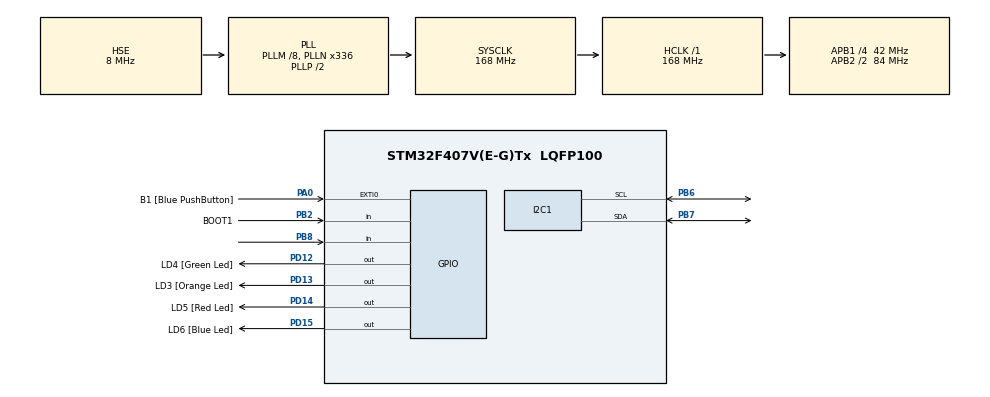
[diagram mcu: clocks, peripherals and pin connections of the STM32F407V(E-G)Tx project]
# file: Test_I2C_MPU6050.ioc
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Mcu.Family=STM32F4
Mcu.Name=STM32F407V(E-G)Tx
Mcu.Package=LQFP100
NVIC.PriorityGroup=NVIC_PRIORITYGROUP_0
PA0-WKUP.GPIO_Label=B1 [Blue PushButton]
PA0-WKUP.GPIO_ModeDefaultEXTI=GPIO_MODE_EVT_RISING
PA0-WKUP.GPIO_PuPd=GPIO_NOPULL
PA0-WKUP.Signal=GPXTI0
PB2.GPIO_Label=BOOT1
PB2.GPIO_Mode=GPIO_MODE_INPUT
PB2.GPIO_PuPd=GPIO_NOPULL
PB2.Signal=GPIO_Input
PB6.Mode=I2C
PB6.Signal=I2C1_SCL
PB7.Mode=I2C
PB7.Signal=I2C1_SDA
PB8.Signal=GPIO_Input
PC14-OSC32_IN.GPIO_Label=PC14-OSC32_IN
PC14-OSC32_IN.Mode=LSE-External-Oscillator
PC14-OSC32_IN.Signal=RCC_OSC32_IN
PC15-OSC32_OUT.GPIO_Label=PC15-OSC32_OUT
PC15-OSC32_OUT.Mode=LSE-External-Oscillator
PC15-OSC32_OUT.Signal=RCC_OSC32_OUT
PD12.GPIO_Label=LD4 [Green Led]
PD12.GPIO_PuPd=GPIO_NOPULL
PD12.GPIO_Speed=GPIO_SPEED_FREQ_LOW
PD12.Signal=GPIO_Output
PD13.GPIO_Label=LD3 [Orange Led]
PD13.GPIO_PuPd=GPIO_NOPULL
PD13.GPIO_Speed=GPIO_SPEED_FREQ_LOW
PD13.Signal=GPIO_Output
PD14.GPIO_Label=LD5 [Red Led]
PD14.GPIO_PuPd=GPIO_NOPULL
PD14.GPIO_Speed=GPIO_SPEED_FREQ_LOW
PD14.Signal=GPIO_Output
PD15.GPIO_Label=LD6 [Blue Led]
PD15.GPIO_PuPd=GPIO_NOPULL
PD15.GPIO_Speed=GPIO_SPEED_FREQ_LOW
PD15.Signal=GPIO_Output
PH0-OSC_IN.GPIO_Label=PH0-OSC_IN
PH0-OSC_IN.Mode=HSE-External-Oscillator
PH0-OSC_IN.Signal=RCC_OSC_IN
PH1-OSC_OUT.GPIO_Label=PH1-OSC_OUT
PH1-OSC_OUT.Mode=HSE-External-Oscillator
PH1-OSC_OUT.Signal=RCC_OSC_OUT
ProjectManager.HeapSize=0x200
ProjectManager.StackSize=0x400
ProjectManager.TargetToolchain=STM32CubeIDE
RCC.48MHZClocksFreq_Value=48000000
RCC.AHBFreq_Value=168000000
RCC.APB1CLKDivider=RCC_HCLK_DIV4
RCC.APB1Freq_Value=42000000
RCC.APB1TimFreq_Value=84000000
RCC.APB2CLKDivider=RCC_HCLK_DIV2
RCC.APB2Freq_Value=84000000
RCC.APB2TimFreq_Value=168000000
RCC.CortexFreq_Value=168000000
RCC.HCLKFreq_Value=168000000
RCC.HSE_VALUE=8000000
RCC.HSI_VALUE=16000000
RCC.PLLM=8
RCC.PLLN=336
RCC.PLLQ=7
RCC.PLLSourceVirtual=RCC_PLLSOURCE_HSE
RCC.SYSCLKFreq_VALUE=168000000
RCC.SYSCLKSource=RCC_SYSCLKSOURCE_PLLCLK
RCC.VCOOutputFreq_Value=336000000
board=STM32F407G-DISC1

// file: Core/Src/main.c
/* USER CODE BEGIN Header */
/**
  ******************************************************************************
  * @file           : main.c
  * @brief          : Main program body
  ******************************************************************************
  * @attention
  *
  * Copyright (c) 2023 STMicroelectronics.
  * All rights reserved.
  *
  * This software is licensed under terms that can be found in the LICENSE file
  * in the root directory of this software component.
  * If no LICENSE file comes with this software, it is provided AS-IS.
  *
  ******************************************************************************
  */
/* USER CODE END Header */
#include "main.h"

/* USER CODE BEGIN Includes */
#include "TJ_MPU6050.h"
/* USER CODE END Includes */

/* USER CODE BEGIN PD */
#define MPU6050_ADDR 0x68 // MPU6050 I2C address
/* USER CODE END PD */

I2C_HandleTypeDef hi2c1;

void SystemClock_Config(void);
static void MX_GPIO_Init(void);
static void MX_I2C1_Init(void);

/* USER CODE BEGIN 0 */
RawData_Def myAccelRawData;
RawData_Def myGyroRawData;

ScaledData_Def myAccelScaled;
ScaledData_Def myGyroScaled;
/* USER CODE END 0 */

int main(void)
{
  /* USER CODE BEGIN 1 */
	MPU_ConfigTypeDef myMPUConfig;
  /* USER CODE END 1 */

  /* MCU Configuration--------------------------------------------------------*/

  /* Reset of all peripherals, Initializes the Flash interface and the Systick. */
  HAL_Init();

  /* Configure the system clock */
  SystemClock_Config();

  /* Initialize all configured peripherals */
  MX_GPIO_Init();
  MX_I2C1_Init();
  /* USER CODE BEGIN 2 */

  // 1. Initialize the MPU6050
  MPU6050_Init(&hi2c1);

  // 2. Configure Accel and Gyro parameters
  myMPUConfig.Accel_Full_Scale = AFS_SEL_4g;
  myMPUConfig.ClockSource = Internal_8MHz;
  myMPUConfig.CONFIG_DLPF = DLPF_184A_188G_Hz;
  myMPUConfig.Gyro_Full_Scale = FS_SEL_500;
  myMPUConfig.Sleep_Mode_Bit = 0;  // 1: sleep mode, 0: normal mode
  MPU6050_Config(&myMPUConfig);

  /* USER CODE END 2 */

  /* Infinite loop */
  while (1)
  {

    /* USER CODE BEGIN 3 */

	  // Read Raw Data
	  //MPU6050_Get_Accel_RawData(&myAccelRawData);
	  //MPU6050_Get_Gyro_RawData(&myGyroRawData);

	  // Read Scaled Data -> make sure that you comment the raw data
	  MPU6050_Get_Accel_Scale(&myAccelScaled);
	  MPU6050_Get_Gyro_Scale(&myGyroScaled);

	  HAL_GPIO_TogglePin(GPIOD, LD6_Pin);
	  HAL_Delay(10);
  }
  /* USER CODE END 3 */
}

void SystemClock_Config(void)
{
  RCC_OscInitTypeDef RCC_OscInitStruct = {0};
  RCC_ClkInitTypeDef RCC_ClkInitStruct = {0};

  /** Configure the main internal regulator output voltage
  */
  __HAL_RCC_PWR_CLK_ENABLE();
  __HAL_PWR_VOLTAGESCALING_CONFIG(PWR_REGULATOR_VOLTAGE_SCALE1);

  /** Initializes the RCC Oscillators according to the specified parameters
  * in the RCC_OscInitTypeDef structure.
  */
  RCC_OscInitStruct.OscillatorType = RCC_OSCILLATORTYPE_HSE;
  RCC_OscInitStruct.HSEState = RCC_HSE_ON;
  RCC_OscInitStruct.PLL.PLLState = RCC_PLL_ON;
  RCC_OscInitStruct.PLL.PLLSource = RCC_PLLSOURCE_HSE;
  RCC_OscInitStruct.PLL.PLLM = 8;
  RCC_OscInitStruct.PLL.PLLN = 336;
  RCC_OscInitStruct.PLL.PLLP = RCC_PLLP_DIV2;
  RCC_OscInitStruct.PLL.PLLQ = 7;
  if (HAL_RCC_OscConfig(&RCC_OscInitStruct) != HAL_OK)
  {
    Error_Handler();
  }

  /** Initializes the CPU, AHB and APB buses clocks
  */
  RCC_ClkInitStruct.ClockType = RCC_CLOCKTYPE_HCLK|RCC_CLOCKTYPE_SYSCLK
                              |RCC_CLOCKTYPE_PCLK1|RCC_CLOCKTYPE_PCLK2;
  RCC_ClkInitStruct.SYSCLKSource = RCC_SYSCLKSOURCE_PLLCLK;
  RCC_ClkInitStruct.AHBCLKDivider = RCC_SYSCLK_DIV1;
  RCC_ClkInitStruct.APB1CLKDivider = RCC_HCLK_DIV4;
  RCC_ClkInitStruct.APB2CLKDivider = RCC_HCLK_DIV2;

  if (HAL_RCC_ClockConfig(&RCC_ClkInitStruct, FLASH_LATENCY_5) != HAL_OK)
  {
    Error_Handler();
  }
}

static void MX_I2C1_Init(void)
{

  hi2c1.Instance = I2C1;
  hi2c1.Init.ClockSpeed = 100000;
  hi2c1.Init.DutyCycle = I2C_DUTYCYCLE_2;
  hi2c1.Init.OwnAddress1 = 0;
  hi2c1.Init.AddressingMode = I2C_ADDRESSINGMODE_7BIT;
  hi2c1.Init.DualAddressMode = I2C_DUALADDRESS_DISABLE;
  hi2c1.Init.OwnAddress2 = 0;
  hi2c1.Init.GeneralCallMode = I2C_GENERALCALL_DISABLE;
  hi2c1.Init.NoStretchMode = I2C_NOSTRETCH_DISABLE;
  if (HAL_I2C_Init(&hi2c1) != HAL_OK)
  {
    Error_Handler();
  }

}

static void MX_GPIO_Init(void)
{
  GPIO_InitTypeDef GPIO_InitStruct = {0};

  /* GPIO Ports Clock Enable */
  __HAL_RCC_GPIOC_CLK_ENABLE();
  __HAL_RCC_GPIOH_CLK_ENABLE();
  __HAL_RCC_GPIOA_CLK_ENABLE();
  __HAL_RCC_GPIOB_CLK_ENABLE();
  __HAL_RCC_GPIOD_CLK_ENABLE();

  /*Configure GPIO pin Output Level */
  HAL_GPIO_WritePin(GPIOD, LD4_Pin|LD3_Pin|LD5_Pin|LD6_Pin, GPIO_PIN_RESET);

  /*Configure GPIO pin : B1_Pin */
  GPIO_InitStruct.Pin = B1_Pin;
  GPIO_InitStruct.Mode = GPIO_MODE_EVT_RISING;
  GPIO_InitStruct.Pull = GPIO_NOPULL;
  HAL_GPIO_Init(B1_GPIO_Port, &GPIO_InitStruct);

  /*Configure GPIO pins : BOOT1_Pin PB8 */
  GPIO_InitStruct.Pin = BOOT1_Pin|GPIO_PIN_8;
  GPIO_InitStruct.Mode = GPIO_MODE_INPUT;
  GPIO_InitStruct.Pull = GPIO_NOPULL;
  HAL_GPIO_Init(GPIOB, &GPIO_InitStruct);

  /*Configure GPIO pins : LD4_Pin LD3_Pin LD5_Pin LD6_Pin */
  GPIO_InitStruct.Pin = LD4_Pin|LD3_Pin|LD5_Pin|LD6_Pin;
  GPIO_InitStruct.Mode = GPIO_MODE_OUTPUT_PP;
  GPIO_InitStruct.Pull = GPIO_NOPULL;
  GPIO_InitStruct.Speed = GPIO_SPEED_FREQ_LOW;
  HAL_GPIO_Init(GPIOD, &GPIO_InitStruct);

}

void Error_Handler(void)
{
  __disable_irq();
  while (1)
  {
  }
}
